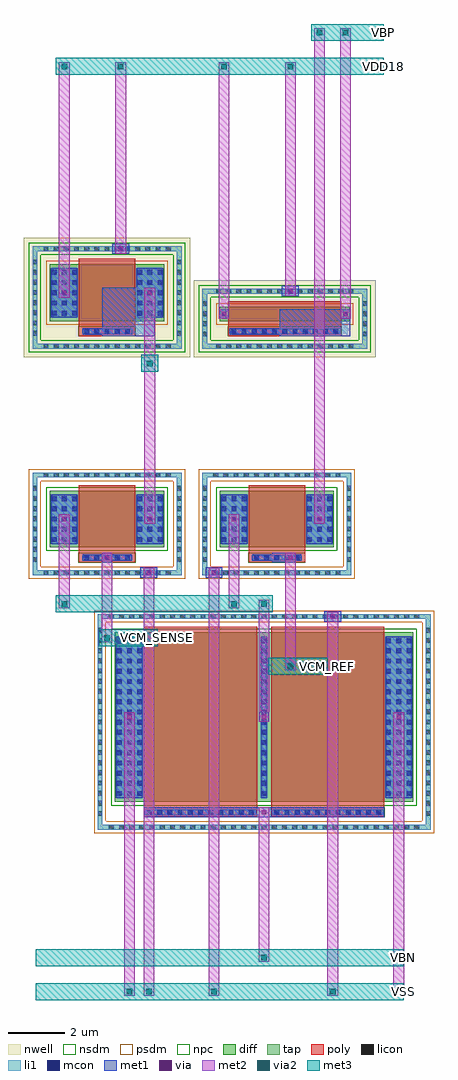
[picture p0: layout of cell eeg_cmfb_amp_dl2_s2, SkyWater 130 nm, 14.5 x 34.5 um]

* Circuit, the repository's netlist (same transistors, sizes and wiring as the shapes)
* Extracted by KLayout with SKY130 LVS runset on : 04/09/2026 11:52

.SUBCKT eeg_cmfb_amp_dl2_s2 VBN VBP VCM_REF VCM_SENSE VDD18 VSS
M$1 VDD18 \$12 \$12 VDD18 sky130_fd_pr__pfet_01v8 L=2 W=2 AS=2.04 AD=2.04
+ PS=6.04 PD=6.04
M$2 VDD18 VBP VBP VDD18 sky130_fd_pr__pfet_01v8 L=4 W=0.5 AS=0.15 AD=0.15
+ PS=1.6 PD=1.6
M$3 \$4 VCM_REF VBP VSS sky130_fd_pr__nfet_01v8 L=2 W=2 AS=2.04 AD=2.04 PS=6.04
+ PD=6.04
M$4 VSS VBN \$4 VSS sky130_fd_pr__nfet_01v8 L=4 W=12 AS=7.62 AD=7.62 PS=20.54
+ PD=20.54
M$6 \$4 VCM_SENSE \$12 VSS sky130_fd_pr__nfet_01v8 L=2 W=2 AS=2.04 AD=2.04
+ PS=6.04 PD=6.04
.ENDS eeg_cmfb_amp_dl2_s2

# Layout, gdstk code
import gdstk
lib = gdstk.Library(unit=1e-6, precision=1e-09)
def R(c, l, rs):  # rectangles x0, y0, x1, y1
    for r in rs: c.add(gdstk.rectangle(r[:2], r[2:], *l))
def A(c, l, x, y, w, h, nx, ny, dx, dy):  # array of equal rectangles
    R(c, l, [(x+i*dx, y+j*dy, x+i*dx+w, y+j*dy+h) for i in range(nx) for j in range(ny)])
def P(c, l, *ps):  # polygons
    for p in ps: c.add(gdstk.Polygon(p, *l))
nwell = (64, 20)
diff = (65, 20)
tap = (65, 44)
poly = (66, 20)
licon = (66, 44)
li1 = (67, 20)
mcon = (67, 44)
met1 = (68, 20)
via = (68, 44)
met2 = (69, 20)
via2 = (69, 44)
met3 = (70, 20)
nsdm = (93, 44)
psdm = (94, 20)
npc = (95, 20)

eeg_cmfb_amp_dl2_s2_m6 = lib.new_cell('eeg_cmfb_amp_dl2_s2_m6')
R(eeg_cmfb_amp_dl2_s2_m6, diff, [(0,0,4.04,2)])
P(eeg_cmfb_amp_dl2_s2_m6, tap, [(-0.615,-0.98),(-0.615,2.47),(-0.445,2.47),(-0.445,-0.81),(4.485,-0.81),(4.485,2.47),(-0.615,2.47),(-0.615,2.64),(4.655,2.64),(4.655,-0.98)])
R(eeg_cmfb_amp_dl2_s2_m6, poly, [(1.02,-0.53,3.02,-0.2), (1.02,-0.2,3.02,2.2)])
A(eeg_cmfb_amp_dl2_s2_m6, licon, -0.225, -0.98, 0.17, 0.17, 13, 2, 0.36, 3.45)
A(eeg_cmfb_amp_dl2_s2_m6, licon, -0.615, -0.515, 0.17, 0.17, 1, 8, 0, 0.36)
A(eeg_cmfb_amp_dl2_s2_m6, licon, 4.485, -0.515, 0.17, 0.17, 1, 8, 0, 0.36)
A(eeg_cmfb_amp_dl2_s2_m6, licon, 1.215, -0.45, 0.17, 0.17, 5, 1, 0.36, 0)
A(eeg_cmfb_amp_dl2_s2_m6, licon, 0.065, 0.195, 0.17, 0.17, 3, 5, 0.36, 0.36)
A(eeg_cmfb_amp_dl2_s2_m6, licon, 3.085, 0.195, 0.17, 0.17, 3, 5, 0.36, 0.36)
R(eeg_cmfb_amp_dl2_s2_m6, li1, [(1.135,-0.45,2.905,-0.28), (0.065,0.115,0.955,1.885), (3.085,0.115,3.975,1.885)])
P(eeg_cmfb_amp_dl2_s2_m6, li1, [(-0.615,-0.98),(-0.615,2.47),(-0.445,2.47),(-0.445,-0.81),(4.485,-0.81),(4.485,2.47),(-0.615,2.47),(-0.615,2.64),(4.655,2.64),(4.655,-0.98)])
A(eeg_cmfb_amp_dl2_s2_m6, mcon, 1.215, -0.45, 0.17, 0.17, 5, 1, 0.36, 0)
A(eeg_cmfb_amp_dl2_s2_m6, mcon, 0.065, 0.195, 0.17, 0.17, 3, 5, 0.36, 0.36)
A(eeg_cmfb_amp_dl2_s2_m6, mcon, 3.085, 0.195, 0.17, 0.17, 3, 5, 0.36, 0.36)
R(eeg_cmfb_amp_dl2_s2_m6, met1, [(1.155,-0.48,2.885,-0.25), (0.035,0.135,0.985,1.865), (3.055,0.135,4.005,1.865)])
R(eeg_cmfb_amp_dl2_s2_m6, nsdm, [(-0.125,-0.125,4.165,2.125)])
P(eeg_cmfb_amp_dl2_s2_m6, psdm, [(-0.74,-1.105),(-0.74,2.345),(-0.32,2.345),(-0.32,-0.685),(4.36,-0.685),(4.36,2.345),(-0.74,2.345),(-0.74,2.765),(4.78,2.765),(4.78,-1.105)])
R(eeg_cmfb_amp_dl2_s2_m6, npc, [(1.01,-0.54,3.03,-0.19)])

eeg_cmfb_amp_dl2_s2_m7 = lib.new_cell('eeg_cmfb_amp_dl2_s2_m7')
R(eeg_cmfb_amp_dl2_s2_m7, diff, [(0,0,4.04,2)])
P(eeg_cmfb_amp_dl2_s2_m7, tap, [(-0.615,-0.98),(-0.615,2.47),(-0.445,2.47),(-0.445,-0.81),(4.485,-0.81),(4.485,2.47),(-0.615,2.47),(-0.615,2.64),(4.655,2.64),(4.655,-0.98)])
R(eeg_cmfb_amp_dl2_s2_m7, poly, [(1.02,-0.53,3.02,-0.2), (1.02,-0.2,3.02,2.2)])
A(eeg_cmfb_amp_dl2_s2_m7, licon, -0.225, -0.98, 0.17, 0.17, 13, 2, 0.36, 3.45)
A(eeg_cmfb_amp_dl2_s2_m7, licon, -0.615, -0.515, 0.17, 0.17, 1, 8, 0, 0.36)
A(eeg_cmfb_amp_dl2_s2_m7, licon, 4.485, -0.515, 0.17, 0.17, 1, 8, 0, 0.36)
A(eeg_cmfb_amp_dl2_s2_m7, licon, 1.215, -0.45, 0.17, 0.17, 5, 1, 0.36, 0)
A(eeg_cmfb_amp_dl2_s2_m7, licon, 0.065, 0.195, 0.17, 0.17, 3, 5, 0.36, 0.36)
A(eeg_cmfb_amp_dl2_s2_m7, licon, 3.085, 0.195, 0.17, 0.17, 3, 5, 0.36, 0.36)
R(eeg_cmfb_amp_dl2_s2_m7, li1, [(1.135,-0.45,2.905,-0.28), (0.065,0.115,0.955,1.885), (3.085,0.115,3.975,1.885)])
P(eeg_cmfb_amp_dl2_s2_m7, li1, [(-0.615,-0.98),(-0.615,2.47),(-0.445,2.47),(-0.445,-0.81),(4.485,-0.81),(4.485,2.47),(-0.615,2.47),(-0.615,2.64),(4.655,2.64),(4.655,-0.98)])
A(eeg_cmfb_amp_dl2_s2_m7, mcon, 1.215, -0.45, 0.17, 0.17, 5, 1, 0.36, 0)
A(eeg_cmfb_amp_dl2_s2_m7, mcon, 0.065, 0.195, 0.17, 0.17, 3, 5, 0.36, 0.36)
A(eeg_cmfb_amp_dl2_s2_m7, mcon, 3.085, 0.195, 0.17, 0.17, 3, 5, 0.36, 0.36)
R(eeg_cmfb_amp_dl2_s2_m7, met1, [(1.155,-0.48,2.885,-0.25), (0.035,0.135,0.985,1.865), (3.055,0.135,4.005,1.865)])
R(eeg_cmfb_amp_dl2_s2_m7, nsdm, [(-0.125,-0.125,4.165,2.125)])
P(eeg_cmfb_amp_dl2_s2_m7, psdm, [(-0.74,-1.105),(-0.74,2.345),(-0.32,2.345),(-0.32,-0.685),(4.36,-0.685),(4.36,2.345),(-0.74,2.345),(-0.74,2.765),(4.78,2.765),(4.78,-1.105)])
R(eeg_cmfb_amp_dl2_s2_m7, npc, [(1.01,-0.54,3.03,-0.19)])

eeg_cmfb_amp_dl2_s2_m8 = lib.new_cell('eeg_cmfb_amp_dl2_s2_m8')
R(eeg_cmfb_amp_dl2_s2_m8, nwell, [(-0.92,-1.285,4.96,2.945)])
R(eeg_cmfb_amp_dl2_s2_m8, diff, [(0,0,4.04,2)])
P(eeg_cmfb_amp_dl2_s2_m8, tap, [(-0.615,-0.98),(-0.615,2.47),(-0.445,2.47),(-0.445,-0.81),(4.485,-0.81),(4.485,2.47),(-0.615,2.47),(-0.615,2.64),(4.655,2.64),(4.655,-0.98)])
R(eeg_cmfb_amp_dl2_s2_m8, poly, [(1.02,-0.53,3.02,-0.2), (1.02,-0.2,3.02,2.2)])
A(eeg_cmfb_amp_dl2_s2_m8, licon, -0.225, -0.98, 0.17, 0.17, 13, 2, 0.36, 3.45)
A(eeg_cmfb_amp_dl2_s2_m8, licon, -0.615, -0.515, 0.17, 0.17, 1, 8, 0, 0.36)
A(eeg_cmfb_amp_dl2_s2_m8, licon, 4.485, -0.515, 0.17, 0.17, 1, 8, 0, 0.36)
A(eeg_cmfb_amp_dl2_s2_m8, licon, 1.215, -0.45, 0.17, 0.17, 5, 1, 0.36, 0)
A(eeg_cmfb_amp_dl2_s2_m8, licon, 0.065, 0.195, 0.17, 0.17, 3, 5, 0.36, 0.36)
A(eeg_cmfb_amp_dl2_s2_m8, licon, 3.085, 0.195, 0.17, 0.17, 3, 5, 0.36, 0.36)
R(eeg_cmfb_amp_dl2_s2_m8, li1, [(1.135,-0.45,2.905,-0.28), (0.065,0.115,0.955,1.885), (3.085,0.115,3.975,1.885)])
P(eeg_cmfb_amp_dl2_s2_m8, li1, [(-0.615,-0.98),(-0.615,2.47),(-0.445,2.47),(-0.445,-0.81),(4.485,-0.81),(4.485,2.47),(-0.615,2.47),(-0.615,2.64),(4.655,2.64),(4.655,-0.98)])
A(eeg_cmfb_amp_dl2_s2_m8, mcon, 1.215, -0.45, 0.17, 0.17, 5, 1, 0.36, 0)
A(eeg_cmfb_amp_dl2_s2_m8, mcon, 0.065, 0.195, 0.17, 0.17, 3, 5, 0.36, 0.36)
A(eeg_cmfb_amp_dl2_s2_m8, mcon, 3.085, 0.195, 0.17, 0.17, 3, 5, 0.36, 0.36)
R(eeg_cmfb_amp_dl2_s2_m8, met1, [(1.155,-0.48,2.885,-0.25), (0.035,0.135,0.985,1.865), (3.055,0.135,4.005,1.865)])
P(eeg_cmfb_amp_dl2_s2_m8, nsdm, [(-0.74,-1.105),(-0.74,2.345),(-0.32,2.345),(-0.32,-0.685),(4.36,-0.685),(4.36,2.345),(-0.74,2.345),(-0.74,2.765),(4.78,2.765),(4.78,-1.105)])
R(eeg_cmfb_amp_dl2_s2_m8, psdm, [(-0.125,-0.125,4.165,2.125)])
R(eeg_cmfb_amp_dl2_s2_m8, npc, [(1.01,-0.54,3.03,-0.19)])

eeg_cmfb_amp_dl2_s2_m9 = lib.new_cell('eeg_cmfb_amp_dl2_s2_m9')
R(eeg_cmfb_amp_dl2_s2_m9, nwell, [(-0.92,-1.285,5.52,1.445)])
R(eeg_cmfb_amp_dl2_s2_m9, diff, [(0,0,4.6,0.5)])
P(eeg_cmfb_amp_dl2_s2_m9, tap, [(-0.615,-0.98),(-0.615,0.97),(-0.445,0.97),(-0.445,-0.81),(5.045,-0.81),(5.045,0.97),(-0.615,0.97),(-0.615,1.14),(5.215,1.14),(5.215,-0.98)])
R(eeg_cmfb_amp_dl2_s2_m9, poly, [(0.3,-0.53,4.3,-0.2), (0.3,-0.2,4.3,0.7)])
A(eeg_cmfb_amp_dl2_s2_m9, licon, -0.125, -0.98, 0.17, 0.17, 14, 2, 0.36, 1.95)
A(eeg_cmfb_amp_dl2_s2_m9, licon, -0.615, -0.545, 0.17, 0.17, 1, 4, 0, 0.36)
A(eeg_cmfb_amp_dl2_s2_m9, licon, 5.045, -0.545, 0.17, 0.17, 1, 4, 0, 0.36)
A(eeg_cmfb_amp_dl2_s2_m9, licon, 0.415, -0.45, 0.17, 0.17, 11, 1, 0.36, 0)
R(eeg_cmfb_amp_dl2_s2_m9, licon, [(0.065,0.165,0.235,0.335), (4.365,0.165,4.535,0.335)])
R(eeg_cmfb_amp_dl2_s2_m9, li1, [(0.335,-0.45,4.265,-0.28), (0.065,0.085,0.235,0.415), (4.365,0.085,4.535,0.415)])
P(eeg_cmfb_amp_dl2_s2_m9, li1, [(-0.615,-0.98),(-0.615,0.97),(-0.445,0.97),(-0.445,-0.81),(5.045,-0.81),(5.045,0.97),(-0.615,0.97),(-0.615,1.14),(5.215,1.14),(5.215,-0.98)])
A(eeg_cmfb_amp_dl2_s2_m9, mcon, 0.415, -0.45, 0.17, 0.17, 11, 1, 0.36, 0)
R(eeg_cmfb_amp_dl2_s2_m9, mcon, [(0.065,0.165,0.235,0.335), (4.365,0.165,4.535,0.335)])
R(eeg_cmfb_amp_dl2_s2_m9, met1, [(0.355,-0.48,4.245,-0.25), (0.005,0.105,0.295,0.395), (4.305,0.105,4.595,0.395)])
P(eeg_cmfb_amp_dl2_s2_m9, nsdm, [(-0.74,-1.105),(-0.74,0.845),(-0.32,0.845),(-0.32,-0.685),(4.92,-0.685),(4.92,0.845),(-0.74,0.845),(-0.74,1.265),(5.34,1.265),(5.34,-1.105)])
R(eeg_cmfb_amp_dl2_s2_m9, psdm, [(-0.125,-0.125,4.725,0.625)])
R(eeg_cmfb_amp_dl2_s2_m9, npc, [(0.29,-0.54,4.31,-0.19)])

eeg_cmfb_amp_dl2_s2_m10 = lib.new_cell('eeg_cmfb_amp_dl2_s2_m10')
R(eeg_cmfb_amp_dl2_s2_m10, diff, [(0,0,10.54,6)])
P(eeg_cmfb_amp_dl2_s2_m10, tap, [(-0.615,-0.98),(-0.615,6.47),(-0.445,6.47),(-0.445,-0.81),(10.985,-0.81),(10.985,6.47),(-0.615,6.47),(-0.615,6.64),(11.155,6.64),(11.155,-0.98)])
R(eeg_cmfb_amp_dl2_s2_m10, poly, [(1.02,-0.53,5.02,-0.2), (5.52,-0.53,9.52,-0.2), (1.02,-0.2,5.02,6.2), (5.52,-0.2,9.52,6.2)])
A(eeg_cmfb_amp_dl2_s2_m10, licon, -0.215, -0.98, 0.17, 0.17, 31, 2, 0.36, 7.45)
A(eeg_cmfb_amp_dl2_s2_m10, licon, -0.615, -0.495, 0.17, 0.17, 1, 19, 0, 0.36)
A(eeg_cmfb_amp_dl2_s2_m10, licon, 10.985, -0.495, 0.17, 0.17, 1, 19, 0, 0.36)
A(eeg_cmfb_amp_dl2_s2_m10, licon, 1.135, -0.45, 0.17, 0.17, 11, 1, 0.36, 0)
A(eeg_cmfb_amp_dl2_s2_m10, licon, 5.635, -0.45, 0.17, 0.17, 11, 1, 0.36, 0)
A(eeg_cmfb_amp_dl2_s2_m10, licon, 0.065, 0.215, 0.17, 0.17, 3, 16, 0.36, 0.36)
A(eeg_cmfb_amp_dl2_s2_m10, licon, 5.185, 0.215, 0.17, 0.17, 1, 16, 0, 0.36)
A(eeg_cmfb_amp_dl2_s2_m10, licon, 9.585, 0.215, 0.17, 0.17, 3, 16, 0.36, 0.36)
R(eeg_cmfb_amp_dl2_s2_m10, li1, [(1.055,-0.45,4.985,-0.28), (5.555,-0.45,9.485,-0.28), (0.065,0.135,0.955,5.865), (5.185,0.135,5.355,5.865), (9.585,0.135,10.475,5.865)])
P(eeg_cmfb_amp_dl2_s2_m10, li1, [(-0.615,-0.98),(-0.615,6.47),(-0.445,6.47),(-0.445,-0.81),(10.985,-0.81),(10.985,6.47),(-0.615,6.47),(-0.615,6.64),(11.155,6.64),(11.155,-0.98)])
A(eeg_cmfb_amp_dl2_s2_m10, mcon, 1.135, -0.45, 0.17, 0.17, 11, 1, 0.36, 0)
A(eeg_cmfb_amp_dl2_s2_m10, mcon, 5.635, -0.45, 0.17, 0.17, 11, 1, 0.36, 0)
A(eeg_cmfb_amp_dl2_s2_m10, mcon, 0.065, 0.215, 0.17, 0.17, 3, 16, 0.36, 0.36)
A(eeg_cmfb_amp_dl2_s2_m10, mcon, 5.185, 0.215, 0.17, 0.17, 1, 16, 0, 0.36)
A(eeg_cmfb_amp_dl2_s2_m10, mcon, 9.585, 0.215, 0.17, 0.17, 3, 16, 0.36, 0.36)
R(eeg_cmfb_amp_dl2_s2_m10, met1, [(1.075,-0.48,4.965,-0.25), (5.575,-0.48,9.465,-0.25), (0.035,0.155,0.985,5.845), (5.155,0.155,5.385,5.845), (9.555,0.155,10.505,5.845)])
R(eeg_cmfb_amp_dl2_s2_m10, nsdm, [(-0.125,-0.125,10.665,6.125)])
P(eeg_cmfb_amp_dl2_s2_m10, psdm, [(-0.74,-1.105),(-0.74,6.345),(-0.32,6.345),(-0.32,-0.685),(10.86,-0.685),(10.86,6.345),(-0.74,6.345),(-0.74,6.765),(11.28,6.765),(11.28,-1.105)])
R(eeg_cmfb_amp_dl2_s2_m10, npc, [(1.01,-0.54,5.03,-0.19), (5.51,-0.54,9.53,-0.19)])

eeg_cmfb_amp_dl2_s2 = lib.new_cell('eeg_cmfb_amp_dl2_s2')
R(eeg_cmfb_amp_dl2_s2, mcon, [(9.915,-2.53,10.085,-2.36), (3.415,-0.98,3.585,-0.81), (5.715,-0.98,5.885,-0.81), (8.415,8.97,8.585,9.14), (2.415,10.47,2.585,10.64)])
A(eeg_cmfb_amp_dl2_s2, met1, 2.64, -6.17, 0.34, 0.34, 3, 1, 4.76, 0)
R(eeg_cmfb_amp_dl2_s2, met1, [(3.32,-9.535,11.82,-9.195), (7.4,-9.535,7.74,-9.195), (9.7,-2.63,10.3,-2.26), (9.83,-2.615,10.17,-2.275), (3.2,-1.08,3.8,-0.71), (5.5,-1.08,6.1,-0.71), (3.33,-1.065,3.67,-0.725), (5.63,-1.065,5.97,-0.725), (1.85,-0.535,2.19,-0.195), (7.85,-0.535,8.67,-0.195), (0.34,0.83,0.68,1.17), (3.36,0.83,3.7,1.17), (6.34,0.83,6.68,1.17), (9.36,0.83,9.7,1.17), (1.85,7.465,3.7,9.17), (8.13,7.465,10.62,8.42), (5.98,8.08,6.32,8.42), (10.28,8.08,10.62,8.42), (0.34,8.83,0.68,9.17), (3.36,8.83,3.7,9.17), (8.2,8.87,8.8,9.24), (8.33,8.885,8.67,9.225), (2.2,10.37,2.8,10.74), (2.33,10.385,2.67,10.725)])
A(eeg_cmfb_amp_dl2_s2, via, 2.735, -6.075, 0.15, 0.15, 3, 1, 4.76, 0)
R(eeg_cmfb_amp_dl2_s2, via, [(7.495,-9.44,7.645,-9.29), (9.925,-2.52,10.075,-2.37), (3.425,-0.97,3.575,-0.82), (5.725,-0.97,5.875,-0.82), (1.945,-0.44,2.095,-0.29), (8.425,-0.44,8.575,-0.29), (0.435,0.925,0.585,1.075), (3.455,0.925,3.605,1.075), (6.435,0.925,6.585,1.075), (9.455,0.925,9.605,1.075), (6.075,8.175,6.225,8.325), (10.375,8.175,10.525,8.325), (0.435,8.925,0.585,9.075), (3.455,8.925,3.605,9.075), (8.425,8.98,8.575,9.13), (2.425,10.48,2.575,10.63)])
R(eeg_cmfb_amp_dl2_s2, met2, [(2.62,-15.85,3,-5.83), (3.31,-15.85,3.69,-0.725), (5.61,-15.85,5.99,-0.725), (9.81,-15.85,10.19,-2.275), (12.14,-15.85,12.52,-5.83), (7.38,-14.65,7.76,-9.195), (7.38,-6.17,7.76,-1.85), (8.31,-4.35,8.69,-0.195), (1.83,-3.35,2.21,-0.195), (0.32,-2.15,0.7,1.17), (6.32,-2.15,6.7,1.17), (3.34,0.83,3.72,6.65), (9.34,0.83,9.72,18.35), (3.34,6.35,3.72,9.17), (5.96,8.08,6.34,17.15), (10.26,8.08,10.64,18.35), (0.32,8.83,0.7,17.15), (8.31,8.885,8.69,17.15), (2.31,10.385,2.69,17.15)])
R(eeg_cmfb_amp_dl2_s2, via2, [(2.71,-15.8,2.91,-15.6), (3.4,-15.8,3.6,-15.6), (5.7,-15.8,5.9,-15.6), (9.9,-15.8,10.1,-15.6), (12.23,-15.8,12.43,-15.6), (7.47,-14.6,7.67,-14.4), (8.4,-4.3,8.6,-4.1), (1.92,-3.3,2.12,-3.1), (0.41,-2.1,0.61,-1.9), (6.41,-2.1,6.61,-1.9), (7.47,-2.1,7.67,-1.9), (3.43,6.4,3.63,6.6), (3.43,6.4,3.63,6.6), (0.41,16.9,0.61,17.1), (2.4,16.9,2.6,17.1), (6.05,16.9,6.25,17.1), (8.4,16.9,8.6,17.1), (9.43,18.1,9.63,18.3), (10.35,18.1,10.55,18.3)])
R(eeg_cmfb_amp_dl2_s2, met3, [(-0.5,-16,12.5,-15.4), (-0.5,-14.8,12.5,-14.2), (7.72,-4.5,9.82,-3.9), (1.72,-3.5,3.82,-2.9), (0.21,-2.3,7.87,-1.7), (3.23,6.2,3.83,6.8), (0.21,16.7,11.8,17.3), (9.23,17.9,11.8,18.5)])
eeg_cmfb_amp_dl2_s2.add(gdstk.Reference(eeg_cmfb_amp_dl2_s2_m6, (0,0)))
eeg_cmfb_amp_dl2_s2.add(gdstk.Reference(eeg_cmfb_amp_dl2_s2_m7, (6,0)))
eeg_cmfb_amp_dl2_s2.add(gdstk.Reference(eeg_cmfb_amp_dl2_s2_m8, (0,8)))
eeg_cmfb_amp_dl2_s2.add(gdstk.Reference(eeg_cmfb_amp_dl2_s2_m9, (6,8)))
eeg_cmfb_amp_dl2_s2.add(gdstk.Reference(eeg_cmfb_amp_dl2_s2_m10, (2.3,-9)))
eeg_cmfb_amp_dl2_s2.add(gdstk.Label('VCM_SENSE', (3.82,-3.2), layer=70, texttype=5))
eeg_cmfb_amp_dl2_s2.add(gdstk.Label('VCM_REF', (9.82,-4.2), layer=70, texttype=5))
eeg_cmfb_amp_dl2_s2.add(gdstk.Label('VBN', (12.5,-14.5), layer=70, texttype=5))
eeg_cmfb_amp_dl2_s2.add(gdstk.Label('VSS', (12.5,-15.7), layer=70, texttype=5))
eeg_cmfb_amp_dl2_s2.add(gdstk.Label('VDD18', (11.8,17), layer=70, texttype=5))
eeg_cmfb_amp_dl2_s2.add(gdstk.Label('VBP', (11.8,18.2), layer=70, texttype=5))

lib.write_gds('eeg_cmfb_amp_dl2_s2.gds')
